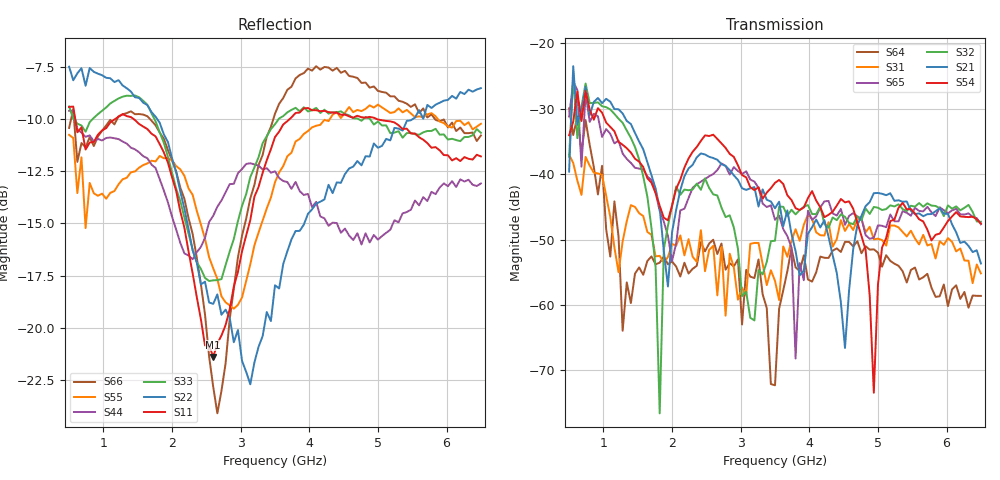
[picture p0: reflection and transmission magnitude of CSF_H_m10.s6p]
!Keysight Technologies,M9804A,MY58100912,A.14.10.03
!Date: Thursday, April 27, 2023 10:28:33
!Correction: S11(C  6-Port  )
!S12(C  6-Port  )
!S13(C  6-Port  )
!S14(C  6-Port  )
!S15(C  6-Port  )
!S16(C  6-Port  )
!S21(C  6-Port  )
!S22(C  6-Port  )
!S23(C  6-Port  )
!S24(C  6-Port  )
!S25(C  6-Port  )
!S26(C  6-Port  )
!S31(C  6-Port  )
!S32(C  6-Port  )
!S33(C  6-Port  )
!S34(C  6-Port  )
!S35(C  6-Port  )
!S36(C  6-Port  )
!S41(C  6-Port  )
!S42(C  6-Port  )
!S43(C  6-Port  )
!S44(C  6-Port  )
!S45(C  6-Port  )
!S46(C  6-Port  )
!S51(C  6-Port  )
!S52(C  6-Port  )
!S53(C  6-Port  )
!S54(C  6-Port  )
!S55(C  6-Port  )
!S56(C  6-Port  )
!S61(C  6-Port  )
!S62(C  6-Port  )
!S63(C  6-Port  )
!S64(C  6-Port  )
!S65(C  6-Port  )
!S66(C  6-Port  )
!S6P File: Measurement: :
# Hz S  RI  R 50
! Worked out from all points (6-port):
!   101 points, 500 MHz to 6.5 GHz, reference 50 ohm
!   strongest paths, dB at 500 MHz, 2 GHz, 3.5 GHz, 5 GHz, 6.5 GHz:
!     S54: -34.1, -44.8, -41.3, -56.9, -47.6
!     S21: -39.6, -48.9, -45.2, -42.9, -53.7
!     S32: -37.3, -44.9, -50.2, -45.1, -47.3
!     S65: -31.2, -53.3, -47.0, -47.8, -47.7
!     S31: -37.0, -50.7, -56.3, -49.9, -55.2
!     S64: -30.0, -53.3, -72.3, -52.0, -58.6
!   lowest |S11| = -21.4 dB at 2.6 GHz (marker M1), VSWR 1.19, Z = 42.4 + j2.2 ohm
!   |S11| at or under -10 dB: 589.1 MHz to 1.17 GHz (580.5 MHz wide, 66 % of centre); 1.439 GHz to 3.714 GHz (2.274 GHz wide, 88.3 % of centre); 4.984 GHz to end of sweep
